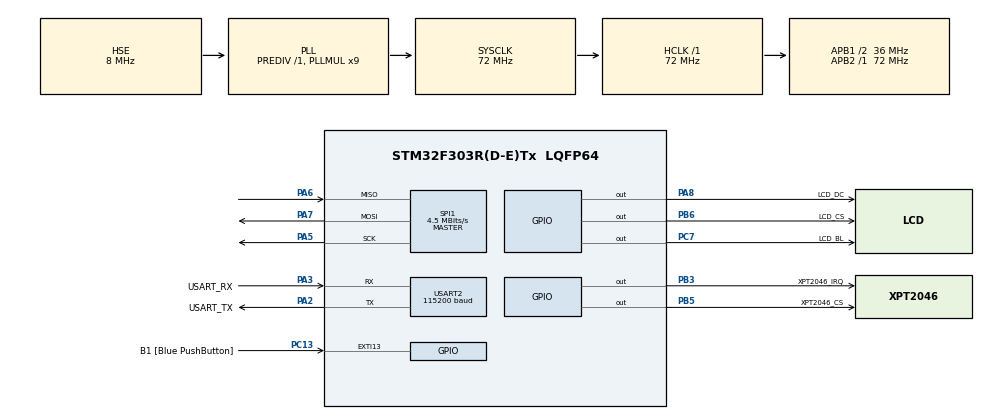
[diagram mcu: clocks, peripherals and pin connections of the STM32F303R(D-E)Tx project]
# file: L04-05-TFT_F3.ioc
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Mcu.Family=STM32F3
Mcu.Name=STM32F303R(D-E)Tx
Mcu.Package=LQFP64
NVIC.PriorityGroup=NVIC_PRIORITYGROUP_0
PA13.GPIO_Label=TMS
PA13.Mode=Serial_Wire
PA13.Signal=SYS_JTMS-SWDIO
PA14.GPIO_Label=TCK
PA14.Mode=Serial_Wire
PA14.Signal=SYS_JTCK-SWCLK
PA2.GPIO_Label=USART_TX
PA2.GPIO_Mode=GPIO_MODE_AF_PP
PA2.GPIO_PuPd=GPIO_NOPULL
PA2.GPIO_Speed=GPIO_SPEED_FREQ_LOW
PA2.Mode=Asynchronous
PA2.Signal=USART2_TX
PA3.GPIO_Label=USART_RX
PA3.GPIO_Mode=GPIO_MODE_AF_PP
PA3.GPIO_PuPd=GPIO_NOPULL
PA3.GPIO_Speed=GPIO_SPEED_FREQ_LOW
PA3.Mode=Asynchronous
PA3.Signal=USART2_RX
PA5.GPIO_Speed=GPIO_SPEED_FREQ_HIGH
PA5.Mode=Full_Duplex_Master
PA5.Signal=SPI1_SCK
PA6.GPIO_PuPd=GPIO_NOPULL
PA6.GPIO_Speed=GPIO_SPEED_FREQ_HIGH
PA6.Mode=Full_Duplex_Master
PA6.Signal=SPI1_MISO
PA7.GPIO_Speed=GPIO_SPEED_FREQ_HIGH
PA7.Mode=Full_Duplex_Master
PA7.Signal=SPI1_MOSI
PA8.GPIO_Label=LCD_DC
PA8.GPIO_PuPd=GPIO_PULLUP
PA8.GPIO_Speed=GPIO_SPEED_FREQ_MEDIUM
PA8.PinState=GPIO_PIN_SET
PA8.Signal=GPIO_Output
PB3.GPIO_Label=XPT2046_IRQ
PB3.GPIO_PuPd=GPIO_PULLUP
PB3.GPIO_Speed=GPIO_SPEED_FREQ_MEDIUM
PB3.PinState=GPIO_PIN_SET
PB3.Signal=GPIO_Output
PB5.GPIO_Label=XPT2046_CS
PB5.GPIO_PuPd=GPIO_PULLUP
PB5.GPIO_Speed=GPIO_SPEED_FREQ_MEDIUM
PB5.PinState=GPIO_PIN_SET
PB5.Signal=GPIO_Output
PB6.GPIO_FM6=SYSCFG_CFGR1_I2C_PB6_FMP
PB6.GPIO_Label=LCD_CS
PB6.GPIO_PuPd=GPIO_PULLUP
PB6.GPIO_Speed=GPIO_SPEED_FREQ_MEDIUM
PB6.PinState=GPIO_PIN_SET
PB6.Signal=GPIO_Output
PC13.GPIO_Label=B1 [Blue PushButton]
PC13.GPIO_ModeDefaultEXTI=GPIO_MODE_IT_FALLING
PC13.Signal=GPXTI13
PC14-OSC32_IN.Signal=RCC_OSC32_IN
PC15-OSC32_OUT.Signal=RCC_OSC32_OUT
PC7.GPIO_Label=LCD_BL
PC7.GPIO_PuPd=GPIO_PULLUP
PC7.GPIO_Speed=GPIO_SPEED_FREQ_MEDIUM
PC7.PinState=GPIO_PIN_SET
PC7.Signal=GPIO_Output
PF0-OSC_IN.Mode=HSE-External-Oscillator
PF0-OSC_IN.Signal=RCC_OSC_IN
PF1-OSC_OUT.Mode=HSE-External-Oscillator
PF1-OSC_OUT.Signal=RCC_OSC_OUT
ProjectManager.HeapSize=0x200
ProjectManager.StackSize=0x400
ProjectManager.TargetToolchain=STM32CubeIDE
RCC.AHBFreq_Value=72000000
RCC.APB1CLKDivider=RCC_HCLK_DIV2
RCC.APB1Freq_Value=36000000
RCC.APB1TimFreq_Value=72000000
RCC.APB2Freq_Value=72000000
RCC.APB2TimFreq_Value=72000000
RCC.CortexFreq_Value=72000000
RCC.HCLKFreq_Value=72000000
RCC.HSE_VALUE=8000000
RCC.HSI_VALUE=8000000
RCC.LSE_VALUE=32768
RCC.PLLM=8
RCC.PLLMUL=RCC_PLL_MUL9
RCC.PLLN=336
RCC.PLLP=RCC_PLLP_DIV4
RCC.PLLQ=7
RCC.PLLSourceVirtual=RCC_PLLSOURCE_HSE
RCC.RCC_PLLsource_Clock_Source_FROM_HSE=RCC_HSE_PREDIV_DIV2
RCC.SYSCLKFreq_VALUE=72000000
RCC.SYSCLKSourceVirtual=RCC_SYSCLKSOURCE_PLLCLK
RCC.USBFreq_Value=72000000
SPI1.BaudRatePrescaler=SPI_BAUDRATEPRESCALER_16
SPI1.CLKPhase=SPI_PHASE_2EDGE
SPI1.CLKPolarity=SPI_POLARITY_HIGH
SPI1.CalculateBaudRate=4.5 MBits/s
SPI1.DataSize=SPI_DATASIZE_8BIT
SPI1.Direction=SPI_DIRECTION_2LINES
SPI1.Mode=SPI_MODE_MASTER
SPI1.VirtualType=VM_MASTER
USART2.BaudRate=115200
USART2.VirtualMode-Asynchronous=VM_ASYNC
board=NUCLEO-F303RE

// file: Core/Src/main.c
/* USER CODE BEGIN Header */
/**
  ******************************************************************************
  * @file           : main.c
  * @brief          : Main program body
  ******************************************************************************
  * @attention
  *
  * <h2><center>&copy; Copyright (c) 2021 STMicroelectronics.
  * All rights reserved.</center></h2>
  *
  * This software component is licensed by ST under BSD 3-Clause license,
  * the "License"; You may not use this file except in compliance with the
  * License. You may obtain a copy of the License at:
  *                        opensource.org/licenses/BSD-3-Clause
  *
  ******************************************************************************
  */
/* USER CODE END Header */
#include "main.h"
#include "spi.h"
#include "usart.h"
#include "gpio.h"

/* USER CODE BEGIN Includes */
#include "lcd_driver.h"
#include "Touch.h"
/* USER CODE END Includes */

void SystemClock_Config(void);

int main(void)
{

  /* USER CODE BEGIN 1 */
  uint8_t temp_id=53;
  uint8_t RotationCnt = 0;
  uint16_t xPos = 150;
  uint16_t yPos = 180;
  uint16_t xMax = 240;
  uint16_t yMax = 320;
  int8_t xDirection = 1;
  int8_t yDirection = 1;
  uint8_t xScale = 3;
  uint8_t yScale = 2;
  uint8_t radius = 25;
  /* USER CODE END 1 */

  /* MCU Configuration--------------------------------------------------------*/

  /* Reset of all peripherals, Initializes the Flash interface and the Systick. */
  HAL_Init();

  /* Configure the system clock */
  SystemClock_Config();

  /* Initialize all configured peripherals */
  MX_GPIO_Init();
  MX_SPI1_Init();
  MX_USART2_UART_Init();
  /* USER CODE BEGIN 2 */
  HAL_Delay(1000);
//  setRotation(1);
  //lcd_init();
  xpt2046_init();
  tp_dev_t sTP_DEV;
  char buf[64];
  //tp_adjust();
  //tp_dialog();
  //HAL_Delay(1000);
  //HAL_UART_Transmit(&huart2, &temp_id, 1, 1000);
  //lcd_clear_screen(WHITE);
  //HAL_Delay(1000);
  /* USER CODE END 2 */

  /* Infinite loop */
  while (1)
  {

    /* USER CODE BEGIN 3 */
	  //tp_draw_board();

	  HAL_Delay(10);
	  //temp_id = lcd_read_id();
	  //HAL_UART_Transmit(&huart2, &temp_id, 1, 1000);

	  HAL_Delay(30);
	  HAL_UART_Transmit(&huart2, (&(uint8_t){0x55}), 1, 1000);

	    sprintf(buf, "X: %d, Y: %d, Status: 0x%02X\r\n",
	                sTP_DEV.hwXpos, sTP_DEV.hwYpos, sTP_DEV.chStatus);
	        HAL_UART_Transmit(&huart2, (uint8_t*)buf, strlen(buf), 100);
	    HAL_Delay(200);

  }
  /* USER CODE END 3 */
}

void SystemClock_Config(void)
{
  RCC_OscInitTypeDef RCC_OscInitStruct = {0};
  RCC_ClkInitTypeDef RCC_ClkInitStruct = {0};
  RCC_PeriphCLKInitTypeDef PeriphClkInit = {0};

  /** Initializes the RCC Oscillators according to the specified parameters
  * in the RCC_OscInitTypeDef structure.
  */
  RCC_OscInitStruct.OscillatorType = RCC_OSCILLATORTYPE_HSE;
  RCC_OscInitStruct.HSEState = RCC_HSE_ON;
  RCC_OscInitStruct.HSIState = RCC_HSI_ON;
  RCC_OscInitStruct.PLL.PLLState = RCC_PLL_ON;
  RCC_OscInitStruct.PLL.PLLSource = RCC_PLLSOURCE_HSE;
  RCC_OscInitStruct.PLL.PLLMUL = RCC_PLL_MUL9;
  RCC_OscInitStruct.PLL.PREDIV = RCC_PREDIV_DIV1;
  if (HAL_RCC_OscConfig(&RCC_OscInitStruct) != HAL_OK)
  {
    Error_Handler();
  }

  /** Initializes the CPU, AHB and APB buses clocks
  */
  RCC_ClkInitStruct.ClockType = RCC_CLOCKTYPE_HCLK|RCC_CLOCKTYPE_SYSCLK
                              |RCC_CLOCKTYPE_PCLK1|RCC_CLOCKTYPE_PCLK2;
  RCC_ClkInitStruct.SYSCLKSource = RCC_SYSCLKSOURCE_PLLCLK;
  RCC_ClkInitStruct.AHBCLKDivider = RCC_SYSCLK_DIV1;
  RCC_ClkInitStruct.APB1CLKDivider = RCC_HCLK_DIV2;
  RCC_ClkInitStruct.APB2CLKDivider = RCC_HCLK_DIV1;

  if (HAL_RCC_ClockConfig(&RCC_ClkInitStruct, FLASH_LATENCY_2) != HAL_OK)
  {
    Error_Handler();
  }
  PeriphClkInit.PeriphClockSelection = RCC_PERIPHCLK_USART2;
  PeriphClkInit.Usart2ClockSelection = RCC_USART2CLKSOURCE_PCLK1;
  if (HAL_RCCEx_PeriphCLKConfig(&PeriphClkInit) != HAL_OK)
  {
    Error_Handler();
  }
}

void Error_Handler(void)
{
  __disable_irq();
  while (1)
  {
  }
}
